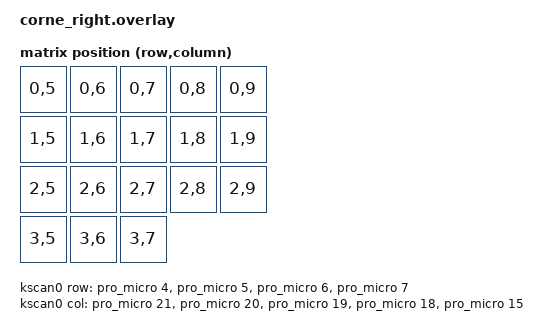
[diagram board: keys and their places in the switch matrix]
/*
 * Copyright (c) 2020 Pete Johanson
 *
 * SPDX-License-Identifier: MIT
 */

#include <dt-bindings/zmk/matrix_transform.h>

/ {
    chosen {
        zmk,kscan = &kscan0;
    };

    default_transform: keymap_transform_0 {
        compatible = "zmk,matrix-transform";
        columns = <10>;
        rows = <4>;
        map = <
            RC(0,5) RC(0,6) RC(0,7) RC(0,8) RC(0,9)
            RC(1,5) RC(1,6) RC(1,7) RC(1,8) RC(1,9)
            RC(2,5) RC(2,6) RC(2,7) RC(2,8) RC(2,9)
            RC(3,5) RC(3,6) RC(3,7)
        >;
    };

    kscan0: kscan {
        compatible = "zmk,kscan-gpio-matrix";
        wakeup-source;

        diode-direction = "col2row";
        row-gpios
            = <&pro_micro 4 (GPIO_ACTIVE_HIGH | GPIO_PULL_DOWN)>
            , <&pro_micro 5 (GPIO_ACTIVE_HIGH | GPIO_PULL_DOWN)>
            , <&pro_micro 6 (GPIO_ACTIVE_HIGH | GPIO_PULL_DOWN)>
            , <&pro_micro 7 (GPIO_ACTIVE_HIGH | GPIO_PULL_DOWN)>
            ;

        col-gpios
            = <&pro_micro 21 GPIO_ACTIVE_HIGH>
            , <&pro_micro 20 GPIO_ACTIVE_HIGH>
            , <&pro_micro 19 GPIO_ACTIVE_HIGH>
            , <&pro_micro 18 GPIO_ACTIVE_HIGH>
            , <&pro_micro 15 GPIO_ACTIVE_HIGH>
            ;
    };
};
